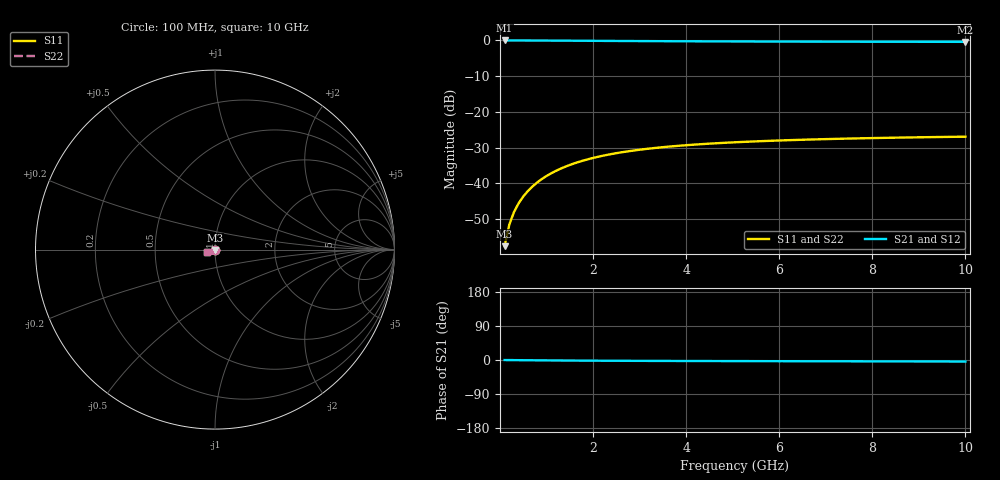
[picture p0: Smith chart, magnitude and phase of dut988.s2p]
! Touchstone file exported from HFSS 2024.1.0
!  File:  C:/UserFiles/LocalFiles/RDL_TSV_Batchsim/temp_TSV1_988_1779952539.aedt
!  Generated:  03:20:22 PM May 28, 2026
!  Design:  TSV1
!  Project:  temp_TSV1_988_1779952539
!  Setup:  Setup1
!  Solution:  Sweep
! Variables:
!  dtsv = 14.39um
!  hbump = 3um
!  htsv = 58.85um
!  lrdl = 252.1521522um
!  p = 40
!  p1 = 50.81um
!  t = 500um
!  trdl = 3um
!  wrdl = 24.89489489um
# GHz S MA R 50.000000
! Terminal data exported
! Port[1] = TSV22_T1
! Port[2] = TSV22_T2
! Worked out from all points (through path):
!   100 points, 100 MHz to 10 GHz, reference 50 ohm
!   highest |S21| = 0.00 dB at 100 MHz (marker M1); lowest = -0.4 dB at 10 GHz (marker M2)
!   lowest |S11| = -57.5 dB at 100 MHz (marker M3), VSWR 1.00, Z = 50 - j0.133 ohm
!   |S11| at or under -10 dB: start of sweep to end of sweep
!   |S22| runs from -57.5 to -26.9 dB; largest |S21 - S12| = 4.1e-15
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0.1  0.001328 -88.7  0.9999 -0.1  0.9999 -0.1  0.001328 -88.7
! Gamma 0 0 0 0
! Port Impedance 50 0 50 0
0.2  0.00265 -92.1  0.9998 -0.2  0.9998 -0.2  0.00265 -92.1
0.3  0.003966 -94.3  0.9995 -0.3  0.9995 -0.3  0.003967 -94.3
0.4  0.005273 -96.3  0.9992 -0.4  0.9992 -0.4  0.005273 -96.3
0.5  0.006566 -98.2  0.9989 -0.5  0.9989 -0.5  0.006566 -98.2
0.6  0.007842 -100.0  0.9984 -0.7  0.9984 -0.7  0.007842 -100.0
0.7  0.009098 -101.8  0.9979 -0.8  0.9979 -0.8  0.009098 -101.8
0.8  0.01033 -103.5  0.9973 -0.9  0.9973 -0.9  0.01033 -103.5
0.9  0.01154 -105.2  0.9967 -0.9  0.9967 -0.9  0.01154 -105.2
1.1  0.01387 -108.4  0.9953 -1.1  0.9953 -1.1  0.01387 -108.4
1.4  0.01713 -113.0  0.993 -1.4  0.993 -1.4  0.01713 -113.0
1.6  0.01913 -115.9  0.9914 -1.5  0.9914 -1.5  0.01913 -115.9
1.8  0.021 -118.6  0.9897 -1.7  0.9897 -1.7  0.021 -118.6
2.1  0.02356 -122.4  0.9872 -1.8  0.9872 -1.8  0.02356 -122.4
2.5  0.02653 -126.9  0.9839 -2.1  0.9839 -2.1  0.02653 -126.9
2.9  0.02906 -131.0  0.9809 -2.2  0.9809 -2.2  0.02906 -131.0
3.4  0.0317 -135.4  0.9774 -2.4  0.9774 -2.4  0.0317 -135.4
4.2  0.03502 -141.2  0.9727 -2.7  0.9727 -2.7  0.03502 -141.2
5.1  0.0378 -146.5  0.9684 -2.9  0.9684 -2.9  0.0378 -146.5
6.7  0.04122 -153.7  0.9628 -3.3  0.9628 -3.3  0.04122 -153.7
8.4  0.0436 -159.4  0.9588 -3.7  0.9588 -3.7  0.0436 -159.4
10  0.04512 -163.8  0.9562 -4.0  0.9562 -4.0  0.04512 -163.8
